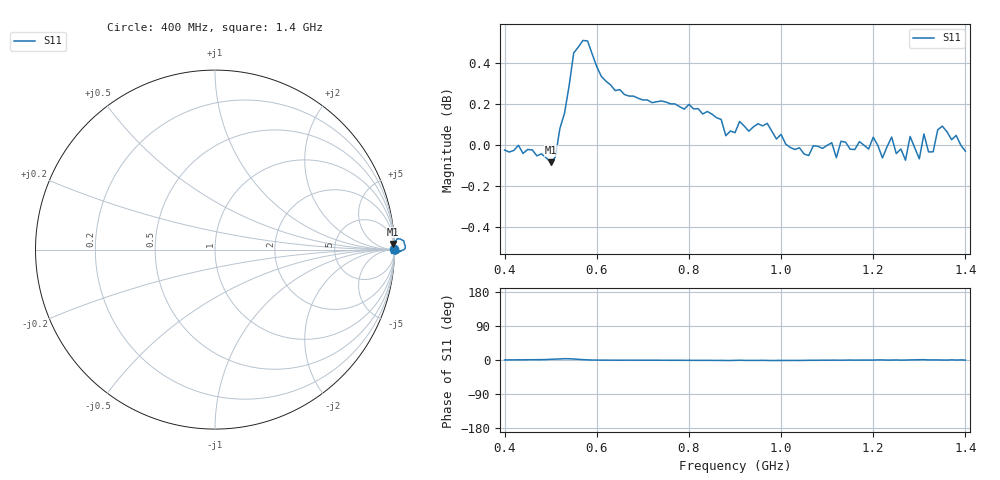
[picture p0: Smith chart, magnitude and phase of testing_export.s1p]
# HZ S RI R 50
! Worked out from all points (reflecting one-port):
!   101 points, 400 MHz to 1.4 GHz, reference 50 ohm
!   lowest |S11| = -0.1 dB at 500 MHz (marker M1), VSWR 203.42, Z = 907 + j2.9e+03 ohm
!   phase of S11 starts at 0 deg and turns -0 deg over the sweep
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4e8  0.9971 0.0021
4.8e8  0.9948 0.0177
5e8  0.9897 0.0311
5.3e8  1.016 0.0607
5.5e8  1.052 0.0485
5.7e8  1.06 0.02
5.9e8  1.052 -0.00135
6.1e8  1.039 -0.00695
6.5e8  1.031 -0.0105
7.8e8  1.022 -0.0127
8.7e8  1.014 -0.0178
8.8e8  1.005 -0.0235
9e8  1.007 -0.0175
9.7e8  1.012 -0.0209
1.03e9  0.9973 -0.0197
1.15e9  0.9976 -0.00307
1.2e9  1.004 -0.00275
1.22e9  0.9927 0.00378
1.24e9  1.004 -0.00207
1.27e9  0.9915 -0.0027
1.28e9  1.005 0.00483
1.3e9  0.9921 0.0116
1.31e9  1.006 0.0163
1.32e9  0.9961 0.00289
1.35e9  1.011 8.5e-05
1.36e9  1.007 -0.00465
1.37e9  1.003 0.0079
1.4e9  0.9964 -0.00394
